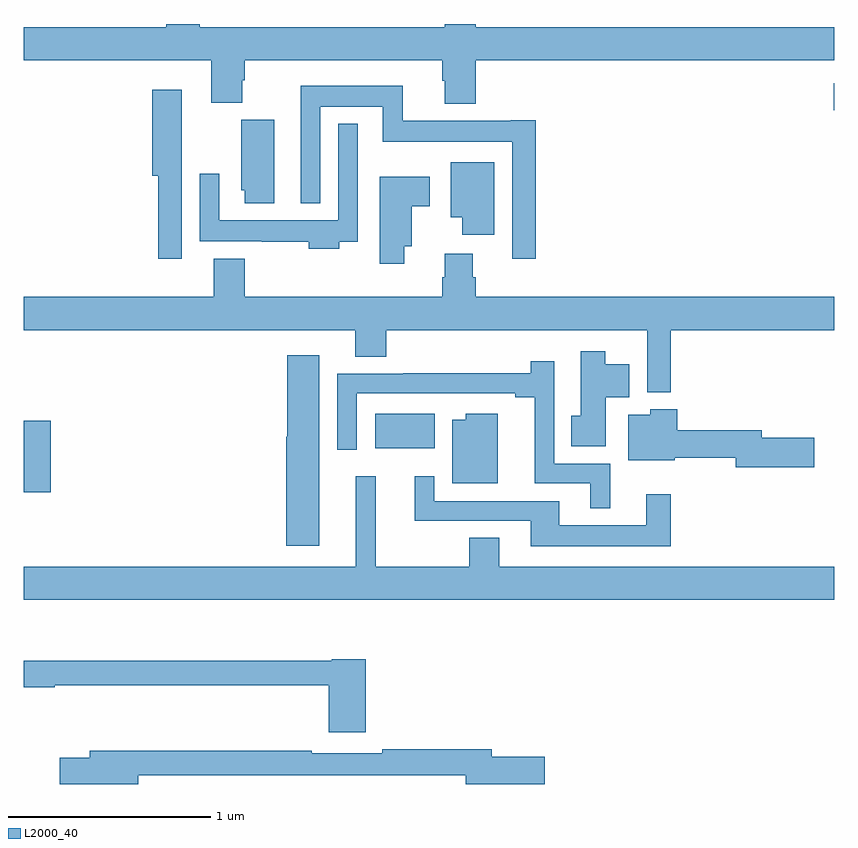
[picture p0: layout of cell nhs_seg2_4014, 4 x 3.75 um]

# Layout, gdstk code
import gdstk
lib = gdstk.Library(unit=1e-6, precision=1e-09)
def R(c, l, rs):  # rectangles x0, y0, x1, y1
    for r in rs: c.add(gdstk.rectangle(r[:2], r[2:], *l))
def P(c, l, *ps):  # polygons
    for p in ps: c.add(gdstk.Polygon(p, *l))
L2000_40 = (2000, 40)

nhs_seg2_4014 = lib.new_cell('nhs_seg2_4014')
R(nhs_seg2_4014, L2000_40, [(325,661.488,325.133,661.84), (326.735,661.706,327.028,661.876), (328.998,663.374,329,663.508)])
P(nhs_seg2_4014, L2000_40, [(327.23,663.62),(329,663.62),(329,663.784),(327.23,663.784),(327.23,663.8),(327.078,663.8),(327.078,663.784),(325.868,663.784),(325.868,663.8),(325.703,663.8),(325.703,663.784),(325,663.784),(325,663.62),(325.925,663.62),(325.925,663.412),(326.077,663.412),(326.077,663.521),(326.09,663.521),(326.09,663.62),(327.065,663.62),(327.065,663.519),(327.077,663.519),(327.077,663.407),(327.23,663.407)],
  [(327.527,663.325),(327.404,663.325),(327.404,663.322),(326.87,663.322),(326.87,663.496),(326.366,663.496),(326.366,662.915),(326.463,662.915),(326.463,663.392),(326.772,663.392),(326.772,663.218),(327.411,663.218),(327.411,662.64),(327.527,662.64)],
  [(325.779,663.154),(325.78,663.154),(325.78,663.475),(325.634,663.475),(325.634,663.05),(325.663,663.05),(325.663,662.64),(325.779,662.64)],
  [(326.236,663.327),(326.072,663.327),(326.072,662.979),(326.09,662.979),(326.09,662.916),(326.236,662.916)],
  [(326.557,662.724),(326.649,662.724),(326.649,663.307),(326.553,663.307),(326.553,662.83),(325.965,662.83),(325.965,663.061),(325.869,663.061),(325.869,662.726),(326.173,662.726),(326.173,662.724),(326.405,662.724),(326.405,662.69),(326.557,662.69)],
  [(327.322,663.118),(327.107,663.118),(327.107,662.846),(327.164,662.846),(327.164,662.76),(327.322,662.76)],
  [(326.878,662.702),(326.914,662.702),(326.914,662.899),(327.004,662.899),(327.004,663.046),(326.756,663.046),(326.756,662.616),(326.878,662.616)],
  [(328.193,662.288),(329,662.288),(329,662.452),(327.23,662.452),(327.23,662.55),(327.217,662.55),(327.217,662.665),(327.077,662.665),(327.077,662.55),(327.065,662.55),(327.065,662.452),(326.09,662.452),(326.09,662.641),(325.937,662.641),(325.937,662.452),(325,662.452),(325,662.288),(326.636,662.288),(326.636,662.158),(326.789,662.158),(326.789,662.288),(328.077,662.288),(328.077,661.982),(328.193,661.982)],
  [(327.874,661.958),(327.988,661.958),(327.988,662.119),(327.871,662.119),(327.871,662.185),(327.749,662.185),(327.749,661.866),(327.703,661.866),(327.703,661.714),(327.874,661.714)],
  [(326.458,662.164),(326.3,662.164),(326.3,661.761),(326.294,661.761),(326.294,661.224),(326.458,661.224)],
  [(327.895,661.629),(327.618,661.629),(327.618,662.134),(327.502,662.134),(327.502,662.075),(326.872,662.075),(326.872,662.073),(326.547,662.073),(326.547,661.698),(326.643,661.698),(326.643,661.977),(327.425,661.977),(327.425,661.957),(327.521,661.957),(327.521,661.533),(327.797,661.533),(327.797,661.409),(327.895,661.409)],
  [(328.903,661.757),(328.642,661.757),(328.642,661.793),(328.226,661.793),(328.226,661.897),(328.092,661.897),(328.092,661.87),(327.983,661.87),(327.983,661.646),(328.213,661.646),(328.213,661.657),(328.514,661.657),(328.514,661.61),(328.903,661.61)],
  [(327.34,661.876),(327.182,661.876),(327.182,661.846),(327.116,661.846),(327.116,661.532),(327.34,661.532)],
  [(328.195,661.477),(328.073,661.477),(328.073,661.324),(327.643,661.324),(327.643,661.443),(327.027,661.443),(327.027,661.567),(326.93,661.567),(326.93,661.347),(327.503,661.347),(327.503,661.22),(328.195,661.22)],
  [(329,661.12),(327.346,661.12),(327.346,661.262),(327.199,661.262),(327.199,661.12),(326.738,661.12),(326.738,661.567),(326.639,661.567),(326.639,661.12),(325,661.12),(325,660.956),(329,660.956)],
  [(326.687,660.663),(326.52,660.663),(326.52,660.655),(325,660.655),(325,660.526),(325.152,660.526),(325.152,660.534),(326.504,660.534),(326.504,660.303),(326.687,660.303)],
  [(325.564,660.09),(327.182,660.09),(327.182,660.047),(327.571,660.047),(327.571,660.182),(327.31,660.182),(327.31,660.218),(326.77,660.218),(326.77,660.198),(326.42,660.198),(326.42,660.211),(325.325,660.211),(325.325,660.177),(325.176,660.177),(325.176,660.047),(325.564,660.047)])

lib.write_gds('nhs_seg2_4014.gds')
